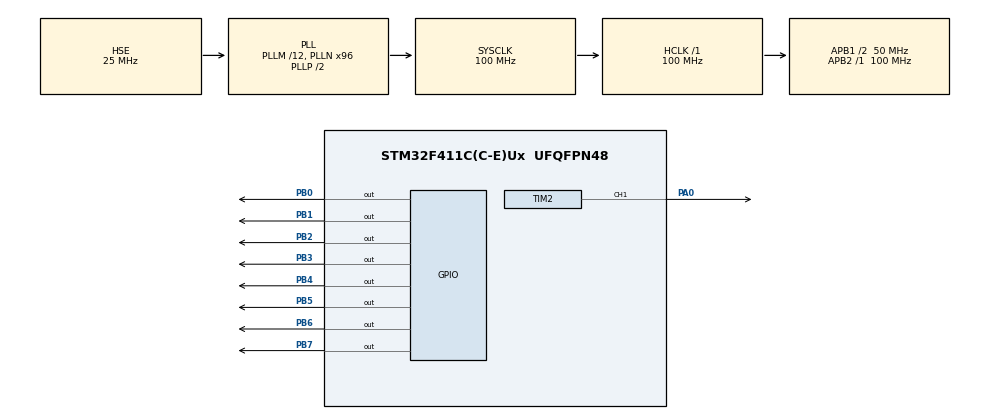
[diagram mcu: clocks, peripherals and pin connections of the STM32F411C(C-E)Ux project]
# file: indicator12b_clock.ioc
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Mcu.Family=STM32F4
Mcu.Name=STM32F411C(C-E)Ux
Mcu.Package=UFQFPN48
NVIC.PriorityGroup=NVIC_PRIORITYGROUP_4
NVIC.TIM3_IRQn=true\:0\:0\:false\:false\:true\:true\:true\:true
NVIC.TIM4_IRQn=true\:0\:0\:false\:false\:true\:true\:true\:true
PA0-WKUP.Signal=S_TIM2_CH1_ETR
PB0.Signal=GPIO_Output
PB1.Signal=GPIO_Output
PB2.Signal=GPIO_Output
PB3.Signal=GPIO_Output
PB4.Signal=GPIO_Output
PB5.Signal=GPIO_Output
PB6.Signal=GPIO_Output
PB7.Signal=GPIO_Output
PH0\ -\ OSC_IN.Mode=HSE-External-Oscillator
PH0\ -\ OSC_IN.Signal=RCC_OSC_IN
PH1\ -\ OSC_OUT.Mode=HSE-External-Oscillator
PH1\ -\ OSC_OUT.Signal=RCC_OSC_OUT
ProjectManager.HeapSize=0x200
ProjectManager.StackSize=0x400
ProjectManager.TargetToolchain=CMake
RCC.48MHZClocksFreq_Value=50000000
RCC.AHBFreq_Value=100000000
RCC.APB1CLKDivider=RCC_HCLK_DIV2
RCC.APB1Freq_Value=50000000
RCC.APB1TimFreq_Value=100000000
RCC.APB2Freq_Value=100000000
RCC.APB2TimFreq_Value=100000000
RCC.CortexFreq_Value=100000000
RCC.HCLKFreq_Value=100000000
RCC.HSE_VALUE=25000000
RCC.HSI_VALUE=16000000
RCC.LSE_VALUE=32768
RCC.PLLM=12
RCC.PLLN=96
RCC.PLLSourceVirtual=RCC_PLLSOURCE_HSE
RCC.SYSCLKFreq_VALUE=100000000
RCC.SYSCLKSource=RCC_SYSCLKSOURCE_PLLCLK
RCC.VCOOutputFreq_Value=200000000
SH.S_TIM2_CH1_ETR.0=TIM2_CH1,PWM Generation1 CH1
TIM2.Channel-PWM\ Generation1\ CH1=TIM_CHANNEL_1
TIM2.Period=999
TIM2.Pulse-PWM\ Generation1\ CH1=15
TIM3.Period=9999
TIM3.Prescaler=9999
TIM4.Period=1999
TIM4.Prescaler=99
VP_TIM3_VS_ClockSourceINT.Mode=Internal
VP_TIM4_VS_ClockSourceINT.Mode=Internal
board=custom

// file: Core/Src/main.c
/* USER CODE BEGIN Header */
/**
  ******************************************************************************
  * @file           : main.c
  * @brief          : Main program body
  ******************************************************************************
  * @attention
  *
  * Copyright (c) 2026 STMicroelectronics.
  * All rights reserved.
  *
  * This software is licensed under terms that can be found in the LICENSE file
  * in the root directory of this software component.
  * If no LICENSE file comes with this software, it is provided AS-IS.
  *
  ******************************************************************************
  */
/* USER CODE END Header */
#include "main.h"
#include "tim.h"
#include "gpio.h"

/* USER CODE BEGIN PV */
volatile uint8_t hours = 12;   // Начальное время для теста
volatile uint8_t minutes = 34;
volatile uint8_t seconds = 0;

volatile uint8_t digits[4] = {1, 2, 3, 4}; // Массив для хранения цифр на 4 лампах
volatile uint8_t current_lamp = 0;         // Текущая активная лампа (0-3)
/* USER CODE END PV */

void SystemClock_Config(void);
/* USER CODE BEGIN PFP */
void Set_Lamp(uint8_t lamp);
void Set_Digit(uint8_t digit);
/* USER CODE END PFP */

int main(void)
{

  /* MCU Configuration--------------------------------------------------------*/

  /* Reset of all peripherals, Initializes the Flash interface and the Systick. */
  HAL_Init();

  /* Configure the system clock */
  SystemClock_Config();

  /* Initialize all configured peripherals */
  MX_GPIO_Init();
  MX_TIM2_Init();
  MX_TIM3_Init();
  MX_TIM4_Init();
  /* USER CODE BEGIN 2 */
  HAL_TIM_PWM_Start(&htim2, TIM_CHANNEL_1); // Запуск ШИМ (100 кГц)
  HAL_TIM_Base_Start_IT(&htim3);            // Запуск таймера времени (1 Гц)
  HAL_TIM_Base_Start_IT(&htim4);            // Запуск таймера экрана (2 мс)

  /* USER CODE END 2 */

  /* Infinite loop */
  while (1)
  {

  }
}

void SystemClock_Config(void)
{
  RCC_OscInitTypeDef RCC_OscInitStruct = {0};
  RCC_ClkInitTypeDef RCC_ClkInitStruct = {0};

  /** Configure the main internal regulator output voltage
  */
  __HAL_RCC_PWR_CLK_ENABLE();
  __HAL_PWR_VOLTAGESCALING_CONFIG(PWR_REGULATOR_VOLTAGE_SCALE1);

  /** Initializes the RCC Oscillators according to the specified parameters
  * in the RCC_OscInitTypeDef structure.
  */
  RCC_OscInitStruct.OscillatorType = RCC_OSCILLATORTYPE_HSE;
  RCC_OscInitStruct.HSEState = RCC_HSE_ON;
  RCC_OscInitStruct.PLL.PLLState = RCC_PLL_ON;
  RCC_OscInitStruct.PLL.PLLSource = RCC_PLLSOURCE_HSE;
  RCC_OscInitStruct.PLL.PLLM = 12;
  RCC_OscInitStruct.PLL.PLLN = 96;
  RCC_OscInitStruct.PLL.PLLP = RCC_PLLP_DIV2;
  RCC_OscInitStruct.PLL.PLLQ = 4;
  if (HAL_RCC_OscConfig(&RCC_OscInitStruct) != HAL_OK)
  {
    Error_Handler();
  }

  /** Initializes the CPU, AHB and APB buses clocks
  */
  RCC_ClkInitStruct.ClockType = RCC_CLOCKTYPE_HCLK|RCC_CLOCKTYPE_SYSCLK
                              |RCC_CLOCKTYPE_PCLK1|RCC_CLOCKTYPE_PCLK2;
  RCC_ClkInitStruct.SYSCLKSource = RCC_SYSCLKSOURCE_PLLCLK;
  RCC_ClkInitStruct.AHBCLKDivider = RCC_SYSCLK_DIV1;
  RCC_ClkInitStruct.APB1CLKDivider = RCC_HCLK_DIV2;
  RCC_ClkInitStruct.APB2CLKDivider = RCC_HCLK_DIV1;

  if (HAL_RCC_ClockConfig(&RCC_ClkInitStruct, FLASH_LATENCY_3) != HAL_OK)
  {
    Error_Handler();
  }
}

/* USER CODE BEGIN 4 */
// Функция включения нужной лампы (анода)
// Принимает номер лампы (0, 1, 2, 3). Если передать 255, выключает все.
// Функция подачи кода цифры на дешифратор (P0-P3 на пинах PB0-PB3)
void Set_Digit(uint8_t digit) {
    // Сначала сбрасываем все пины в 0
    HAL_GPIO_WritePin(GPIOB, GPIO_PIN_0|GPIO_PIN_1|GPIO_PIN_2|GPIO_PIN_3, GPIO_PIN_RESET);

    // Выставляем биты в зависимости от цифры
    if (digit & 0x01) HAL_GPIO_WritePin(GPIOB, GPIO_PIN_0, GPIO_PIN_SET); // P0
    if (digit & 0x02) HAL_GPIO_WritePin(GPIOB, GPIO_PIN_1, GPIO_PIN_SET); // P1
    if (digit & 0x04) HAL_GPIO_WritePin(GPIOB, GPIO_PIN_2, GPIO_PIN_SET); // P2
    if (digit & 0x08) HAL_GPIO_WritePin(GPIOB, GPIO_PIN_3, GPIO_PIN_SET); // P3
}

// Функция включения нужной лампы (аноды на пинах PB4-PB7)
void Set_Lamp(uint8_t lamp) {
    // Сначала выключаем все аноды
    HAL_GPIO_WritePin(GPIOB, GPIO_PIN_4|GPIO_PIN_5|GPIO_PIN_6|GPIO_PIN_7, GPIO_PIN_RESET);

    // Инвертируем номер лампы (0 станет 3, 1 станет 2 и т.д.)
    uint8_t real_lamp = 3 - lamp;

    // Включаем нужную лампу
    if (real_lamp == 0) HAL_GPIO_WritePin(GPIOB, GPIO_PIN_4, GPIO_PIN_SET);
    if (real_lamp == 1) HAL_GPIO_WritePin(GPIOB, GPIO_PIN_5, GPIO_PIN_SET);
    if (real_lamp == 2) HAL_GPIO_WritePin(GPIOB, GPIO_PIN_6, GPIO_PIN_SET);
    if (real_lamp == 3) HAL_GPIO_WritePin(GPIOB, GPIO_PIN_7, GPIO_PIN_SET);
}
// Функция, которая будет вызываться при срабатывании любого таймера
void HAL_TIM_PeriodElapsedCallback(TIM_HandleTypeDef *htim) {

    // --- ТАЙМЕР 3: Счёт времени (срабатывает раз в секунду) ---
    if (htim->Instance == TIM3) {
        seconds++;
        if (seconds >= 60) {
            seconds = 0;
            minutes++;
            if (minutes >= 60) {
                minutes = 0;
                hours++;
                if (hours >= 24) {
                    hours = 0;
                }
            }
        }

        // Раскладываем время на цифры для индикаторов
        digits[0] = hours / 10;       // Десятки часов
        digits[1] = hours % 10;       // Единицы часов
        digits[2] = minutes / 10;     // Десятки минут
        digits[3] = minutes % 10;     // Единицы минут
    }

    // --- ТАЙМЕР 4: Мультиплексирование (срабатывает каждые 2 мс) ---
    if (htim->Instance == TIM4) {
    // 1. Выключаем ВСЕ лампы
    Set_Lamp(255);

    // 2. КОРОТКАЯ ПАУЗА (Слепое окно)
    // Даем транзисторам время закрыться, а дешифратору переключиться.
    // Обычно достаточно 10-50 микросекунд.
    // В цикле используем __NOP() (пустая операция), чтобы не тормозить весь процесс.
    for (volatile uint16_t i = 0; i < 50; i++) { __NOP(); }

    // 3. Подаем код текущей цифры на дешифратор
    Set_Digit(digits[current_lamp]);

    // 4. Включаем нужную лампу
    Set_Lamp(current_lamp);

    // 5. Переходим к следующей лампе
    current_lamp++;
    if (current_lamp >= 4) {
        current_lamp = 0;
    }

  }
}

/* USER CODE END 4 */

void Error_Handler(void)
{
  __disable_irq();
  while (1)
  {
  }
}
